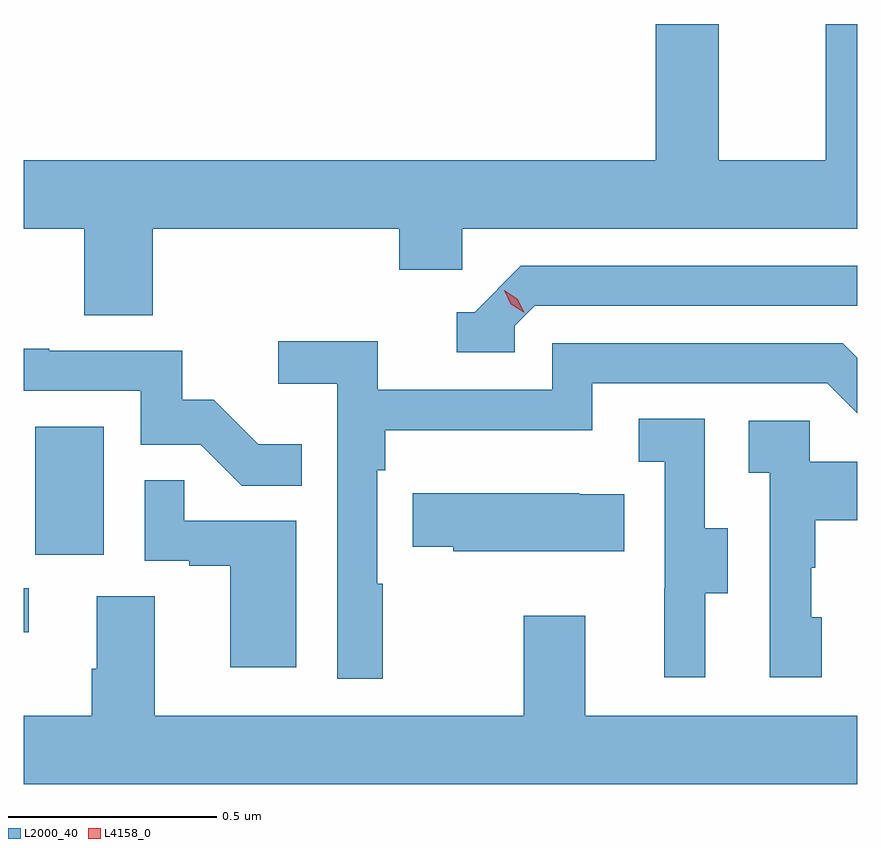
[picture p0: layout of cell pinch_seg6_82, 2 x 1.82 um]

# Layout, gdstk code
import gdstk
lib = gdstk.Library(unit=1e-6, precision=1e-09)
def R(c, l, rs):  # rectangles x0, y0, x1, y1
    for r in rs: c.add(gdstk.rectangle(r[:2], r[2:], *l))
def P(c, l, *ps):  # polygons
    for p in ps: c.add(gdstk.Polygon(p, *l))
L2000_40 = (2000, 40)
L4158_0 = (4158, 0)

pinch_seg6_82 = lib.new_cell('pinch_seg6_82')
R(pinch_seg6_82, L2000_40, [(905.662,926.388,905.674,926.493), (905.69,926.574,905.854,926.881)])
P(pinch_seg6_82, L2000_40, [(905.972,927.356),(906.563,927.356),(906.563,927.258),(906.714,927.258),(906.714,927.356),(907.662,927.356),(907.662,927.847),(907.586,927.847),(907.586,927.52),(907.33,927.52),(907.33,927.847),(907.178,927.847),(907.178,927.52),(905.662,927.52),(905.662,927.356),(905.807,927.356),(905.807,927.148),(905.972,927.148)],
  [(906.84,927.123),(906.888,927.171),(907.662,927.171),(907.662,927.267),(906.855,927.267),(906.744,927.156),(906.701,927.156),(906.701,927.06),(906.84,927.06)],
  [(906.523,926.504),(906.51,926.504),(906.51,926.777),(906.53,926.777),(906.53,926.873),(907.026,926.873),(907.026,926.985),(907.59,926.985),(907.662,926.913),(907.662,927.046),(907.627,927.081),(906.93,927.081),(906.93,926.97),(906.512,926.97),(906.512,927.086),(906.273,927.086),(906.273,926.984),(906.414,926.984),(906.414,926.277),(906.523,926.277)],
  [(906.329,926.839),(906.225,926.839),(906.118,926.946),(906.042,926.946),(906.042,927.063),(905.723,927.063),(905.723,927.068),(905.662,927.068),(905.662,926.967),(905.943,926.967),(905.943,926.838),(906.087,926.838),(906.185,926.74),(906.329,926.74)],
  [(907.297,926.482),(907.351,926.482),(907.351,926.637),(907.296,926.637),(907.296,926.9),(907.137,926.9),(907.137,926.797),(907.2,926.797),(907.2,926.493),(907.199,926.493),(907.199,926.28),(907.297,926.28)],
  [(907.576,926.424),(907.551,926.424),(907.551,926.543),(907.561,926.543),(907.561,926.657),(907.662,926.657),(907.662,926.797),(907.548,926.797),(907.548,926.895),(907.401,926.895),(907.401,926.771),(907.452,926.771),(907.452,926.28),(907.576,926.28)],
  [(906.316,926.655),(906.047,926.655),(906.047,926.753),(905.952,926.753),(905.952,926.559),(906.059,926.559),(906.059,926.547),(906.158,926.547),(906.158,926.304),(906.316,926.304)],
  [(907.103,926.719),(906.995,926.719),(906.995,926.722),(906.595,926.722),(906.595,926.593),(906.693,926.593),(906.693,926.582),(907.103,926.582)],
  [(907.662,926.188),(907.009,926.188),(907.009,926.428),(906.862,926.428),(906.862,926.188),(905.977,926.188),(905.977,926.474),(905.837,926.474),(905.837,926.3),(905.825,926.3),(905.825,926.188),(905.662,926.188),(905.662,926.024),(907.662,926.024)])
P(pinch_seg6_82, L4158_0, [(906.862,927.155),(906.831,927.175),(906.815,927.208),(906.815,927.208),(906.815,927.208),(906.846,927.188),(906.863,927.156),(906.863,927.155)])

lib.write_gds('pinch_seg6_82.gds')
